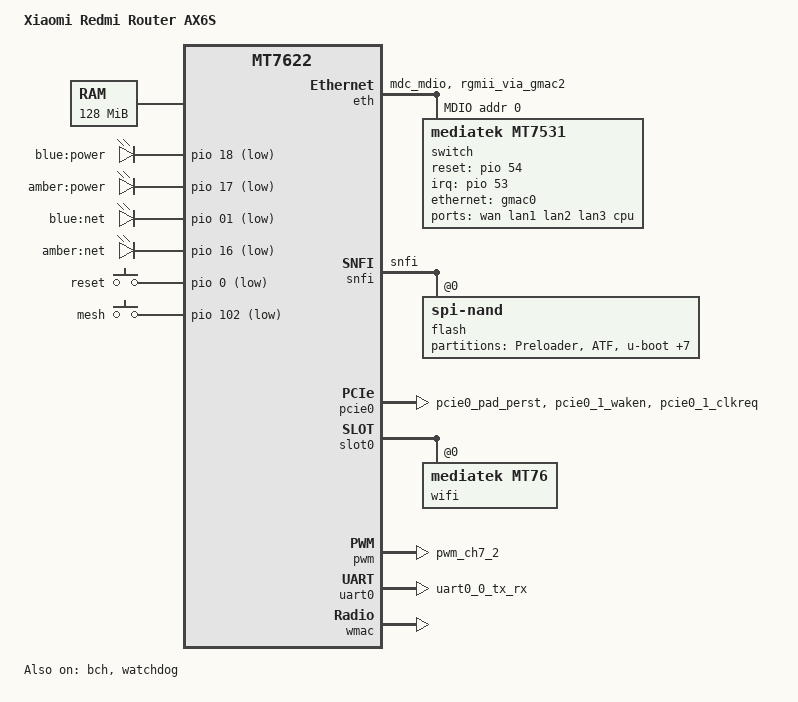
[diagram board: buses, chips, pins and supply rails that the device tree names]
// SPDX-License-Identifier: GPL-2.0-or-later OR MIT
/dts-v1/;

#include <dt-bindings/input/input.h>
#include <dt-bindings/gpio/gpio.h>

#include "mt7622.dtsi"
#include "mt6380.dtsi"

/ {
	model = "Xiaomi Redmi Router AX6S";
	compatible = "xiaomi,redmi-router-ax6s", "mediatek,mt7622";

	aliases {
		serial0 = &uart0;
		led-boot = &led_power_amber;
		led-failsafe = &led_power_amber;
		led-running = &led_power_blue;
		led-upgrade = &led_power_blue;
	};

	chosen {
		stdout-path = "serial0:115200n8";
		bootargs = "earlycon=uart8250,mmio32,0x11002000 console=ttyS0,115200n8 swiotlb=512";
	};

	memory {
		reg = <0 0x40000000 0 0x8000000>;
	};

	leds {
		compatible = "gpio-leds";

		led_power_blue: power_blue {
			label = "blue:power";
			gpios = <&pio 18 GPIO_ACTIVE_LOW>;
		};

		led_power_amber: power_amber {
			label = "amber:power";
			gpios = <&pio 17 GPIO_ACTIVE_LOW>;
		};

		led_net_blue: net_blue {
			label = "blue:net";
			gpios = <&pio 01 GPIO_ACTIVE_LOW>;
		};

		led_net_amber: net_amber {
			label = "amber:net";
			gpios = <&pio 16 GPIO_ACTIVE_LOW>;
		};

	};

	keys {
		compatible = "gpio-keys";

		reset {
			label = "reset";
			gpios = <&pio 0 GPIO_ACTIVE_LOW>;
			linux,code = <KEY_RESTART>;
		};

		mesh {
			label = "mesh";
			gpios = <&pio 102 GPIO_ACTIVE_LOW>;
			linux,code = <BTN_9>;
			linux,input-type = <EV_SW>;
		};
	};
};

&cpu0 {
	proc-supply = <&mt6380_vcpu_reg>;
	sram-supply = <&mt6380_vm_reg>;
};

&cpu1 {
	proc-supply = <&mt6380_vcpu_reg>;
	sram-supply = <&mt6380_vm_reg>;
};

&pio {
	eth_pins: eth-pins {
		mux {
			function = "eth";
			groups = "mdc_mdio", "rgmii_via_gmac2";
		};
	};

	pcie0_pins: pcie0-pins {
		mux {
			function = "pcie";
			groups = "pcie0_pad_perst",
				 "pcie0_1_waken",
				 "pcie0_1_clkreq";
		};
	};

	pmic_bus_pins: pmic-bus-pins {
		mux {
			function = "pmic";
			groups = "pmic_bus";
		};
	};

	pwm7_pins: pwm1-2-pins {
		mux {
			function = "pwm";
			groups = "pwm_ch7_2";
		};
	};

	/* Serial NAND is shared pin with SPI-NOR */
	serial_nand_pins: serial-nand-pins {
		mux {
			function = "flash";
			groups = "snfi";
		};
	};

	uart0_pins: uart0-pins {
		mux {
			function = "uart";
			groups = "uart0_0_tx_rx" ;
		};
	};

	watchdog_pins: watchdog-pins {
		mux {
			function = "watchdog";
			groups = "watchdog";
		};
	};
};

&eth {
	pinctrl-names = "default";
	pinctrl-0 = <&eth_pins>;
	status = "okay";

	gmac0: mac@0 {
		compatible = "mediatek,eth-mac";
		reg = <0>;

		phy-connection-type = "2500base-x";

		nvmem-cells = <&macaddr_factory_4>;
		nvmem-cell-names = "mac-address";
		mac-address-increment = <(-1)>;

		fixed-link {
			speed = <2500>;
			full-duplex;
			pause;
		};
	};

	mdio-bus {
		#address-cells = <1>;
		#size-cells = <0>;

		switch@0 {
			compatible = "mediatek,mt7531";
			reg = <0>;
			interrupt-controller;
			#interrupt-cells = <1>;
			interrupt-parent = <&pio>;
			interrupts = <53 IRQ_TYPE_LEVEL_HIGH>;
			reset-gpios = <&pio 54 GPIO_ACTIVE_HIGH>;

			ports {
				#address-cells = <1>;
				#size-cells = <0>;

				wan: port@1 {
					reg = <1>;
					label = "wan";
				};

				port@2 {
					reg = <2>;
					label = "lan1";
				};

				port@3 {
					reg = <3>;
					label = "lan2";
				};

				port@4 {
					reg = <4>;
					label = "lan3";
				};

				port@6 {
					reg = <6>;
					label = "cpu";
					ethernet = <&gmac0>;
					phy-mode = "2500base-x";

					fixed-link {
						speed = <2500>;
						full-duplex;
						pause;
					};
				};
			};
		};
	};
};

&bch {
	status = "okay";
};

&snfi {
	pinctrl-names = "default";
	pinctrl-0 = <&serial_nand_pins>;
	status = "okay";

	flash@0 {
		compatible = "spi-nand";
		reg = <0>;
		spi-tx-bus-width = <4>;
		spi-rx-bus-width = <4>;
		nand-ecc-engine = <&snfi>;

		mediatek,bmt-v2;
		mediatek,bmt-table-size = <0x1000>;
		mediatek,bmt-remap-range = <0x0 0x6c0000>;

		partitions {
			compatible = "fixed-partitions";
			#address-cells = <1>;
			#size-cells = <1>;

			partition@0 {
				label = "Preloader";
				reg = <0x0 0x80000>;
				read-only;
			};

			partition@80000 {
				label = "ATF";
				reg = <0x80000 0x40000>;
				read-only;
			};

			partition@c0000 {
				label = "u-boot";
				reg = <0xc0000 0x80000>;
				read-only;
			};

			partition@140000 {
				label = "u-boot-env";
				reg = <0x140000 0x40000>;
			};

			partition@180000 {
				label = "bdata";
				reg = <0x180000 0x40000>;
			};

			factory: partition@1c0000 {
				label = "factory";
				reg = <0x1c0000 0x80000>;
				read-only;

				compatible = "nvmem-cells";
				#address-cells = <1>;
				#size-cells = <1>;

				macaddr_factory_4: macaddr@4 {
					reg = <0x4 0x6>;
				};
			};

			partition@240000 {
				label = "crash";
				reg = <0x240000 0x40000>;
				read-only;
			};

			partition@280000 {
				label = "crash_log";
				reg = <0x280000 0x40000>;
				read-only;
			};

			/* Shrunk and renamed from "firmware"
			 * as to not break luci size checks
			 */
			partition@2c0000 {
				label = "kernel";
				compatible = "denx,fit";
				reg = <0x2c0000 0x400000>;
			};

			/* ubi partition is the result of squashing
			 * consecutive stock partitions:
			 * - firmware (partially)
			 * - firmware1
			 * - overlay
			 * - obr
			 */
			partition@6c0000 {
				label = "ubi";
				reg = <0x6C0000 0x6f00000>;
			};
		};
	};
};

&pcie0 {
	pinctrl-names = "default";
	pinctrl-0 = <&pcie0_pins>;
	status = "okay";
};

&slot0 {
	status = "okay";

	wifi@0,0 {
		compatible = "mediatek,mt76";
		reg = <0x0000 0 0 0 0>;
		mediatek,mtd-eeprom = <&factory 0x5000>;
		ieee80211-freq-limit = <5000000 6000000>;
		mediatek,disable-radar-background;
	};
};

&pwm {
	pinctrl-names = "default";
	pinctrl-0 = <&pwm7_pins>;
	status = "okay";
};

&pwrap {
	pinctrl-names = "default";
	pinctrl-0 = <&pmic_bus_pins>;
	status = "okay";
};

&rtc {
	status = "disabled";
};

&uart0 {
	pinctrl-names = "default";
	pinctrl-0 = <&uart0_pins>;
	status = "okay";
};

&watchdog {
	pinctrl-names = "default";
	pinctrl-0 = <&watchdog_pins>;
	status = "okay";
};

&wmac {
	status = "okay";

	mediatek,mtd-eeprom = <&factory 0x0>;
};
